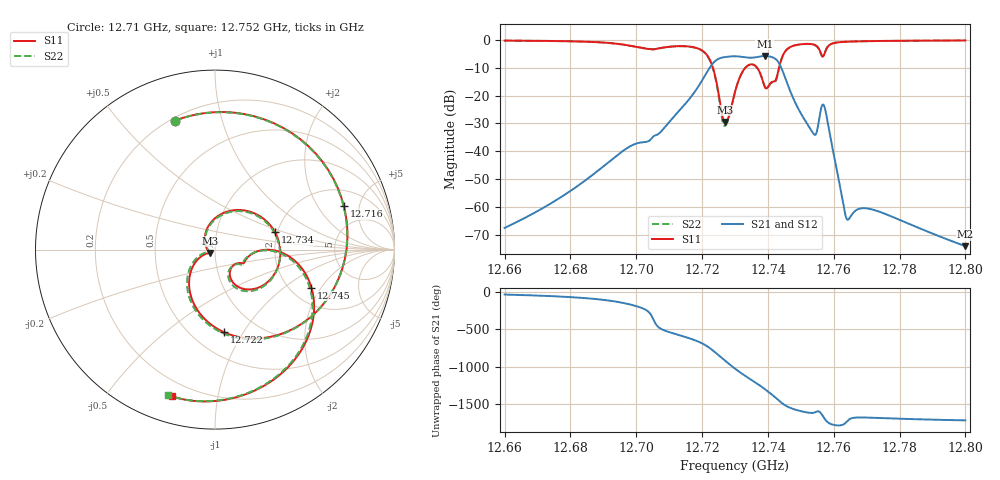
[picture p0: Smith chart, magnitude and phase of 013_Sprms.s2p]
! TOUCHSTONE file generated by CST MICROWAVE STUDIO
! Date and time: Wed Jul 31 11:15:01 2024
! Project name: WaveGuide_BPF-Ver4.1_U-shape_Ku_T3_C4_CWA_2.cst
! Parameters = {cavity_h=16; cavity_l0=10; cavity_l1=15.1973; cavity_l2=16.8712; cavity_l3=17.1036; cavity_l4=17.2289; cavity_l5=17.1058; cavity_l6=17.6267; cavity_r=2.5; cavity_screw_l=0.5; cavity_screw_r=1.5; cavity_w=8; iris_h00=0; iris_h01=8.8418; iris_h112=0; iris_h12=5.6121; iris_h211=3.6618; 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
! Header version: 2018
! Port assignment regex: !\s*Touchstone port\s*([0-9]+)\s*=\s*(CST MWS port|CST DS port)\s*([0-9]+|Zmin|Zmax)\s*\(\"(.*)\"\)(\s*mode\s*([0-9]+))?.*
! Touchstone port assignment:
! Touchstone port 1 = CST MWS port 1 ("")
! Touchstone port 2 = CST MWS port 2 ("")
# GHz S RI R 50
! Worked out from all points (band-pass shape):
!   5001 points, 12.66 GHz to 12.8 GHz, reference 50 ohm
!   highest |S21| = -5.71 dB at 12.739 GHz (marker M1); lowest = -74.1 dB at 12.8 GHz (marker M2)
!   |S21| within 3 dB of the highest: 12.72308 GHz to 12.74356 GHz (20.48 MHz wide, 0.161 % of centre)
!   lowest |S11| = -29.5 dB at 12.727 GHz (marker M3), VSWR 1.07, Z = 47.2 - j1.71 ohm
!   |S11| at or under -10 dB: 12.72329 GHz to 12.73313 GHz (9.836 MHz wide, 0.0773 % of centre); 12.73674 GHz to 12.74338 GHz (6.632 MHz wide, 0.0521 % of centre)
!   |S22| runs from -30.9 to -0.2 dB; largest |S21 - S12| = 1e-09
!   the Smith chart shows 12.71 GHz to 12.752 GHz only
!   S11 on the Smith chart (normalised r, x): 12.71 GHz: 0.22, +0.71; 12.716 GHz: 3.06, +3.50; 12.722 GHz: 0.71, -0.83; 12.734 GHz: 1.94, +0.43; 12.745 GHz: 2.58, -1.63; 12.752 GHz: 0.12, -0.74
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12.66  0.423 0.8809  0.000361 -0.000211  0.000361 -0.000211  0.4287 0.878
12.68335  0.8662 0.3617  0.000704 -0.00256  0.000704 -0.00256  0.8704 0.3506
12.69293  0.8179 -0.3046  -0.00359 -0.00643  -0.00359 -0.00643  0.8116 -0.3197
12.69928  0.1165 -0.7561  -0.0132 -0.000579  -0.0132 -0.000579  0.101 -0.7593
12.70668  -0.6415 0.2952  -0.00578 -0.0195  -0.00578 -0.0195  -0.6417 0.298
12.7097  -0.2252 0.7179  -0.0316 -0.00458  -0.0316 -0.00458  -0.2233 0.718
12.71648  0.7177 0.2436  -0.00903 0.092  -0.00903 0.092  0.7193 0.2298
12.72216  0.0517 -0.4609  0.2764 -0.1328  0.2764 -0.1328  0.0256 -0.4567
12.72457  -0.1223 -0.0918  -0.1634 -0.4137  -0.1634 -0.4137  -0.1245 -0.0746
12.72706  -0.0284 -0.0181  -0.4491 0.2081  -0.4491 0.2081  -0.0242 -0.0157
12.73  -0.0484 0.1064  0.3134 0.4028  0.3134 0.4028  -0.0434 0.108
12.73392  0.334 0.0976  0.1671 -0.4527  0.1671 -0.4527  0.3378 0.0809
12.737  0.2031 -0.2213  -0.4636 -0.1836  -0.4636 -0.1836  0.19 -0.2316
12.73904  0.0842 -0.1184  -0.3758 0.3569  -0.3758 0.3569  0.0761 -0.1218
12.74224  0.1799 -0.0454  0.4198 0.1882  0.4198 0.1882  0.1696 -0.0509
12.74487  0.5371 -0.2112  0.0748 -0.2287  0.0748 -0.2287  0.53 -0.2194
12.75248  -0.2406 -0.8173  -0.0276 0.00116  -0.0276 0.00116  -0.2609 -0.8103
12.75335  -0.334 -0.7743  -0.0227 0.00202  -0.0227 0.00202  -0.3534 -0.7634
12.75716  -0.187 -0.5296  -0.0118 0.0621  -0.0118 0.0621  -0.1881 -0.5483
12.7641  -0.7283 -0.5831  0.000246 0.000535  0.000246 0.000535  -0.7376 -0.5727
12.77668  -0.9531 -0.1539  -0.000149 0.000689  -0.000149 0.000689  -0.955 -0.1444
12.8  -0.9354 0.3003  5.09e-05 0.000189  5.09e-05 0.000189  -0.9337 0.3062
